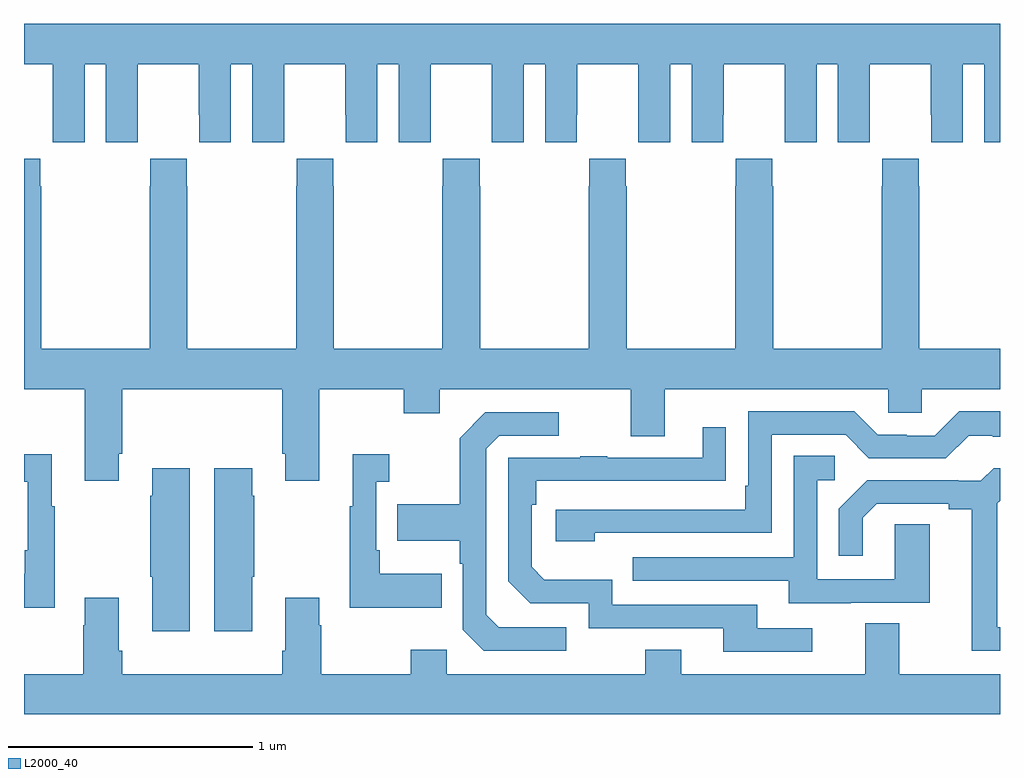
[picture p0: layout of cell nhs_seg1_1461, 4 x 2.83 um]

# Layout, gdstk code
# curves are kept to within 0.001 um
import gdstk
lib = gdstk.Library(unit=1e-6, precision=1e-09)
def P(c, l, *ps):  # polygons
    for p in ps: c.add(gdstk.Polygon(p, *l))
L2000_40 = (2000, 40)

nhs_seg1_1461 = lib.new_cell('nhs_seg1_1461')
P(nhs_seg1_1461, L2000_40, [(191.248,529.088),(191.336,529.088),(191.336,528.768),(191.466,528.768),(191.466,528.88),(191.467,528.88),(191.467,529.088),(191.717,529.088),(191.717,528.88),(191.718,528.88),(191.718,528.768),(191.848,528.768),(191.848,529.088),(191.936,529.088),(191.936,528.768),(192.066,528.768),(192.066,528.88),(192.067,528.88),(192.067,529.088),(192.317,529.088),(192.317,528.88),(192.318,528.88),(192.318,528.768),(192.448,528.768),(192.448,529.088),(192.536,529.088),(192.536,528.768),(192.666,528.768),(192.666,528.88),(192.667,528.88),(192.667,529.088),(192.917,529.088),(192.917,528.88),(192.918,528.88),(192.918,528.768),(193.048,528.768),(193.048,529.088),(193.136,529.088),(193.136,528.768),(193.266,528.768),(193.266,528.88),(193.267,528.88),(193.267,529.088),(193.517,529.088),(193.517,528.88),(193.518,528.88),(193.518,528.768),(193.648,528.768),(193.648,529.088),(193.736,529.088),(193.736,528.768),(193.866,528.768),(193.866,528.88),(193.867,528.88),(193.867,529.088),(194.117,529.088),(194.117,528.88),(194.118,528.88),(194.118,528.768),(194.248,528.768),(194.248,529.088),(194.336,529.088),(194.336,528.768),(194.466,528.768),(194.466,528.88),(194.467,528.88),(194.467,529.088),(194.717,529.088),(194.717,528.88),(194.718,528.88),(194.718,528.768),(194.848,528.768),(194.848,529.088),(194.936,529.088),(194.936,528.768),(195,528.768),(195,529.252),(191,529.252),(191,529.088),(191.117,529.088),(191.117,528.88),(191.118,528.88),(191.118,528.768),(191.248,528.768)],
  [(192.059,527.491),(192.071,527.491),(192.071,527.379),(192.211,527.379),(192.211,527.756),(192.556,527.756),(192.556,527.657),(192.703,527.657),(192.703,527.756),(193.487,527.756),(193.487,527.562),(193.627,527.562),(193.627,527.756),(194.541,527.756),(194.541,527.658),(194.679,527.658),(194.679,527.756),(195,527.756),(195,527.92),(194.67,527.92),(194.67,528.587),(194.667,528.587),(194.667,528.7),(194.517,528.7),(194.517,528.587),(194.515,528.587),(194.515,527.92),(194.07,527.92),(194.07,528.587),(194.067,528.587),(194.067,528.7),(193.917,528.7),(193.917,528.587),(193.915,528.587),(193.915,527.92),(193.47,527.92),(193.47,528.587),(193.467,528.587),(193.467,528.7),(193.317,528.7),(193.317,528.587),(193.315,528.587),(193.315,527.92),(192.87,527.92),(192.87,528.587),(192.867,528.587),(192.867,528.7),(192.717,528.7),(192.717,528.587),(192.715,528.587),(192.715,527.92),(192.27,527.92),(192.27,528.587),(192.267,528.587),(192.267,528.7),(192.117,528.7),(192.117,528.587),(192.115,528.587),(192.115,527.92),(191.67,527.92),(191.67,528.587),(191.667,528.587),(191.667,528.7),(191.517,528.7),(191.517,528.587),(191.515,528.587),(191.515,527.92),(191.07,527.92),(191.07,528.587),(191.067,528.587),(191.067,528.7),(191,528.7),(191,527.756),(191.249,527.756),(191.249,527.379),(191.389,527.379),(191.389,527.491),(191.402,527.491),(191.402,527.756),(192.059,527.756)],
  [(193.34,527.166),(194.064,527.166),(194.064,527.568),(194.367,527.568),(194.463,527.472),(194.778,527.472),(194.871,527.565),(194.971,527.565),(194.971,527.561),(195,527.561),(195,527.665),(194.833,527.665),(194.733,527.565),(194.618,527.565),(194.618,527.568),(194.499,527.568),(194.403,527.664),(193.968,527.664),(193.968,527.359),(193.955,527.359),(193.955,527.262),(193.179,527.262),(193.179,527.132),(193.34,527.132)],
  [(193.222,526.779),(192.945,526.779),(192.894,526.83),(192.894,527.511),(192.948,527.565),(193.192,527.565),(193.192,527.661),(192.891,527.661),(192.786,527.555),(192.786,527.283),(192.529,527.283),(192.529,527.135),(192.786,527.135),(192.786,527.039),(192.798,527.039),(192.798,526.77),(192.885,526.683),(193.222,526.683)],
  [(194.23,526.776),(194.005,526.776),(194.005,526.872),(193.41,526.872),(193.41,526.975),(193.133,526.975),(193.08,527.028),(193.08,527.282),(193.1,527.282),(193.1,527.379),(193.877,527.38),(193.877,527.599),(193.781,527.599),(193.781,527.475),(193.391,527.475),(193.391,527.48),(193.279,527.48),(193.279,527.475),(192.984,527.475),(192.984,526.968),(193.074,526.878),(193.314,526.878),(193.314,526.776),(193.865,526.776),(193.865,526.68),(194.23,526.68)],
  [(192.713,526.999),(192.457,526.999),(192.457,527.095),(192.444,527.095),(192.444,527.375),(192.496,527.375),(192.496,527.488),(192.347,527.488),(192.347,527.275),(192.336,527.275),(192.336,526.859),(192.713,526.859)],
  [(191.125,527.275),(191.113,527.275),(191.113,527.488),(191,527.488),(191,527.375),(191.016,527.375),(191.016,527.095),(191.004,527.095),(191.004,526.999),(191,526.999),(191,526.859),(191.125,526.859)],
  [(194.389,526.881),(194.713,526.881),(194.713,527.201),(194.568,527.201),(194.568,526.977),(194.25,526.977),(194.25,527.382),(194.323,527.382),(194.323,527.483),(194.154,527.483),(194.154,527.067),(193.495,527.067),(193.495,526.971),(194.135,526.971),(194.135,526.877),(194.389,526.877)],
  [(191.68,527.431),(191.525,527.431),(191.525,527.318),(191.518,527.318),(191.518,526.987),(191.525,526.987),(191.525,526.764),(191.68,526.764)],
  [(191.935,526.987),(191.943,526.987),(191.943,527.318),(191.935,527.318),(191.935,527.431),(191.78,527.431),(191.78,526.764),(191.935,526.764)],
  [(195,526.779),(194.989,526.779),(194.989,527.287),(195,527.298),(195,527.431),(194.974,527.431),(194.922,527.379),(194.828,527.379),(194.828,527.382),(194.456,527.382),(194.34,527.266),(194.34,527.073),(194.437,527.073),(194.437,527.229),(194.494,527.286),(194.789,527.286),(194.789,527.264),(194.885,527.264),(194.885,526.683),(195,526.683)],
  [(195,526.588),(194.587,526.588),(194.587,526.796),(194.447,526.796),(194.447,526.588),(193.693,526.588),(193.693,526.687),(193.546,526.687),(193.546,526.588),(192.732,526.588),(192.732,526.687),(192.586,526.687),(192.586,526.588),(192.219,526.588),(192.219,526.787),(192.211,526.787),(192.211,526.9),(192.071,526.9),(192.071,526.684),(192.059,526.684),(192.059,526.588),(191.402,526.588),(191.402,526.684),(191.389,526.684),(191.389,526.9),(191.249,526.9),(191.249,526.787),(191.242,526.787),(191.242,526.588),(191,526.588),(191,526.424),(195,526.424)])

lib.write_gds('nhs_seg1_1461.gds')
